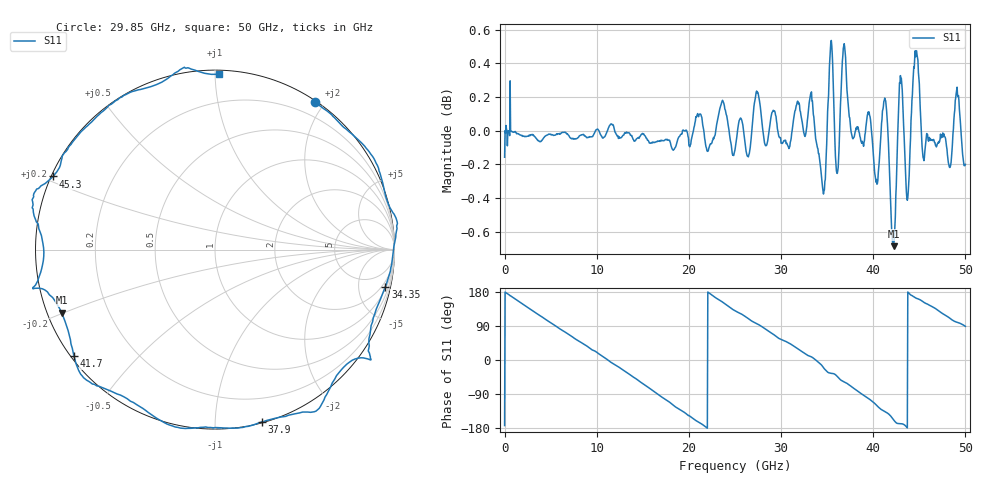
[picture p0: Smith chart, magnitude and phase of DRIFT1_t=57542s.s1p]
!Created with skrf (http://scikit-rf.org).
# Hz S RI R 50.0
!freq ReS11 ImS11
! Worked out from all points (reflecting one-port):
!   1001 points, 300 kHz to 50 GHz, reference 50 ohm
!   lowest |S11| = -0.7 dB at 42.2 GHz (marker M1), VSWR 25.33, Z = 2.05 - j9.88 ohm
!   phase of S11 starts at -173 deg and turns -818 deg over the sweep
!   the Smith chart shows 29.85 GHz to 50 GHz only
!   S11 on the Smith chart (normalised r, x): 29.85 GHz: 0.01, +1.88; 34.35 GHz: 1.25, -9.13; 37.9 GHz: 0.01, -1.31; 41.7 GHz: 0.01, -0.33; 45.3 GHz: 0.01, +0.22; 50 GHz: 0.02, +1.02
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300000  -0.9748 -0.1194
1.450291e9  -0.9126 0.4041
3.25028e9  -0.5926 0.8006
6.250262e9  0.1999 0.9786
9.500243e9  0.8902 0.4467
1.250022e10  0.9316 -0.3494
1.580021e10  0.2413 -0.9617
1.74002e10  -0.2216 -0.9687
1.875019e10  -0.5975 -0.7934
2.155017e10  -0.9918 -0.1456
2.345016e10  -0.9298 0.4128
2.500015e10  -0.6322 0.758
2.745014e10  -0.0863 1.023
2.985012e10  0.5579 0.8242
3.125011e10  0.7839 0.6252
3.31501e10  1.009 0.1754
3.435009e10  0.9491 -0.2066
3.520009e10  0.8604 -0.5764
3.750008e10  0.3781 -0.9313
3.790007e10  0.2592 -0.961
3.960006e10  -0.2365 -0.9826
4.170005e10  -0.7863 -0.5915
4.220005e10  -0.8544 -0.3518
4.290004e10  -1.01 -0.218
4.375004e10  -0.9551 0.0104
4.530003e10  -0.9013 0.4078
4.765001e10  -0.5074 0.8593
5e10  0.0204 0.9771
